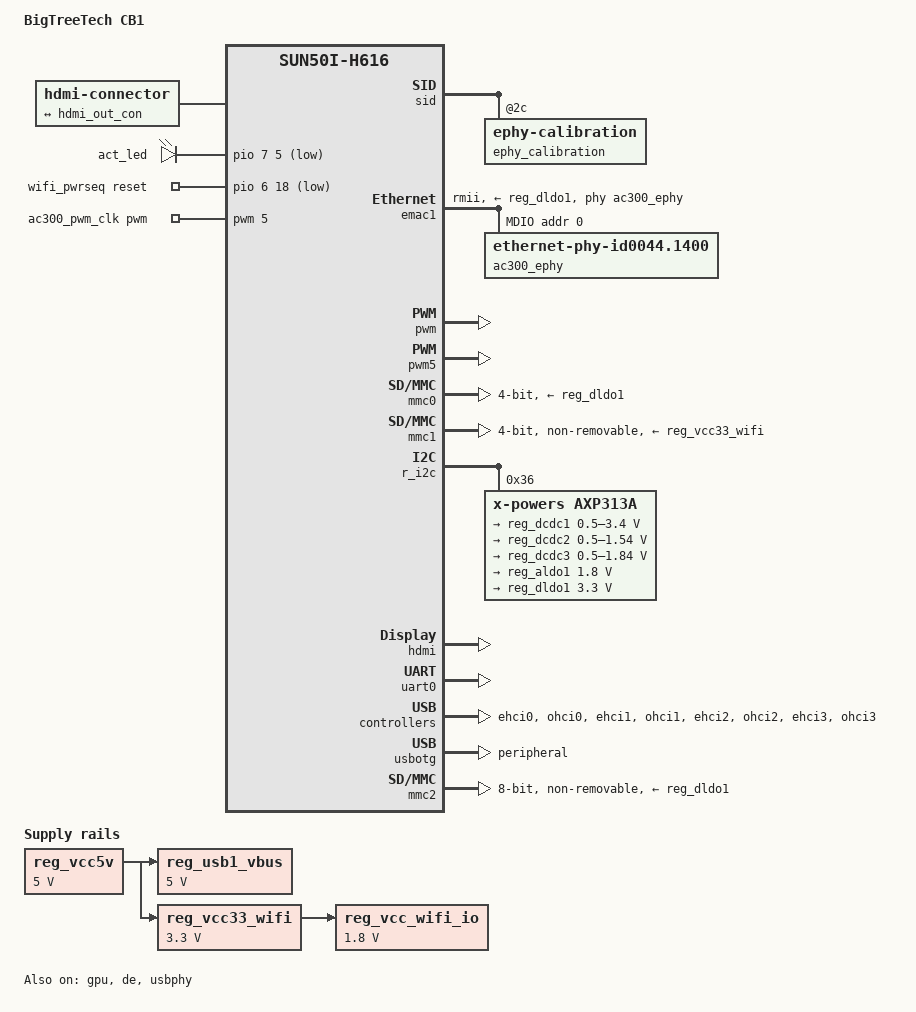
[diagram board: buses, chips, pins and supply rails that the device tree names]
// SPDX-License-Identifier: (GPL-2.0+ OR MIT)
/****************************************************************************
 * Sovol SV08 printer host family uses an Allwinner H616.                   *
 * A deacarade clone of BTT-CB1-EMMC.                                       *
 *                                                                          *
 * Electrically an eMMC-variant CB1, so it reuses the CB1 device tree and   *
 * u-boot. Board-level differences vs the CB1:                              *
 *   - onboard eMMC part validated by the vendor at 45 MHz (the CB1 device  *
 *     tree leaves mmc2 at the SoC default);                                *
 *   - a toolboard UART is broken out; enable it with the stock             *
 * MAIN NOTICE :                                                            *
 *   -SV08                                                                  *
 *        sun50i-h616-uart3-pi overlay (DEFAULT_OVERLAYS                    *
 *        in the board config).                                             *
 *                                                                          *
 *                                                                          *
 *   - SV08-MAX                                                             *
 *        sun50i-h616-uart4-pi overlay (DEFAULT_OVERLAYS                    *
 *        in the board config).                                             *
 *   - The main trick that Sovol and BTT uses to mantain compatiblity:      *
 * 	  the overlays related to UART4 remap the PIN-CTRL and FLOW-CTL     *
 *        over the UART3 masking all behaivor                               *
 *   - SOVOL reduce the onboard eMMC max speed due a bad electrical desssign*
 * Community DTS board: verified by DrDitto.                                *
 *                                                                          *
 * WARNING:                                                                 *
 * Use at your own risk!!!!!!                                               *
 *                                                                          *
 * As part of the applied research all requiered #define                    *
 * was clearly grouped by functionality grouped using:                      *
 * Be caerefull with your changes, A great Power, bla bla bla bla           *
 *                                                                          *
 * This work was made as personal proyect but deployed as GPL V2 requieres  *
 * Any change over the define section will be only your responsability      *
 * This dtsi file was tested over a SV08 is totaly functional and validated *
 *                                                                          *
 *                                                                          *
 * #ifndef                                                                  *
 * #endif                                                                   *
 *                                                                          *
 ***************************************************************************/
//
/****************************************************************************
 * One DTSI to rule all the Family                                          *
 ****************************************************************************/
//



/dts-v1/;
#include "sv08.h"
#include "sun50i-h616.dtsi"
#include "sun50i-h616-cpu-opp.dtsi"


/ {
	model = "BigTreeTech CB1";
	compatible = "bigtreetech,cb1", "allwinner,sun50i-h616";

	aliases {
		ethernet0 = &emac1;
		serial0 = &uart0;
	};

	chosen {
		stdout-path = "serial0:115200n8";
	};

	connector {
		compatible = "hdmi-connector";
		type = "d";

		port {
			hdmi_con_in: endpoint {
				remote-endpoint = <&hdmi_out_con>;
			};
		};
	};

	leds {
		compatible = "gpio-leds";

		act_led: led-0 {
			gpios = <&pio 7 5 GPIO_ACTIVE_LOW>; /* PH5 */
			linux,default-trigger = "heartbeat";
		};
	};

	reg_vcc5v: regulator-vcc5v {
		/* board wide 5V supply directly from the USB-C socket */
		compatible = "regulator-fixed";
		regulator-name = "vcc-5v";
		regulator-min-microvolt = <5000000>;
		regulator-max-microvolt = <5000000>;
		regulator-always-on;
	};

	reg_usb1_vbus: regulator-usb1-vbus {
		compatible = "regulator-fixed";
		regulator-name = "usb1-vbus";
		regulator-min-microvolt = <5000000>;
		regulator-max-microvolt = <5000000>;
		vin-supply = <&reg_vcc5v>;
		enable-active-high;
	};

	reg_vcc33_wifi: vcc33-wifi {
		/* Always on 3.3V regulator for WiFi and BT */
		compatible = "regulator-fixed";
		regulator-name = "vcc33-wifi";
		regulator-min-microvolt = <3300000>;
		regulator-max-microvolt = <3300000>;
		regulator-always-on;
		vin-supply = <&reg_vcc5v>;
	};

	reg_vcc_wifi_io: vcc-wifi-io {
		/* Always on 1.8V/300mA regulator for WiFi and BT IO */
		compatible = "regulator-fixed";
		regulator-name = "vcc-wifi-io";
		regulator-min-microvolt = <1800000>;
		regulator-max-microvolt = <1800000>;
		regulator-always-on;
		vin-supply = <&reg_vcc33_wifi>;
	};

	wifi_pwrseq: wifi-pwrseq {
		compatible = "mmc-pwrseq-simple";
		clocks = <&rtc 1>;
		clock-names = "ext_clock";
		reset-gpios = <&pio 6 18 GPIO_ACTIVE_LOW>; /* PG18 */
		post-power-on-delay-ms = <200>;
	};

	ws2812: ws2812 {
		compatible = "rgb-ws2812";
		pinctrl-names = "default";
		rgb_cnt = <2>;
		rgb_value = <0x000001 0x010000>;
		status = "disabled";
	};

	ac300_pwm_clk: ac300-clk {
		compatible = "pwm-clock";
		#clock-cells = <0>;
		/* 500ns period -> 2MHz */
		pwms = <&pwm 5 500 0>;
		clock-frequency = <2000000>;
		status = "okay";
	};

	i2c_gpio: i2c-gpio {
		#address-cells = <1>;
		#size-cells = <0>;
		compatible = "i2c-gpio";
		status = "disabled";

		i2c-gpio,delay-us = <3>; /* 100 kHz */

		tft_tp: ns2009@48 {
			compatible = "ti,tsc2007";
			reg = <0x48>;
			status = "disabled";
			ti,x-plate-ohms = <660>;
			ti,rt-thr = <3000>;
			ti,fuzzx = <32>;
			ti,fuzzy = <16>;
			i2c,ignore-nak = <1>;
		};

		light: bh1750@5c {
			compatible = "rohm,bh1750";
			reg = <0x5c>;
			status = "disabled";
		};
	};

	mcp2515_clock: mcp2515_clock {
		compatible = "fixed-clock";
		#clock-cells = <0>;
		clock-frequency  = <12000000>;
	};
};

&cpu0 {
	cpu-supply = <&reg_dcdc2>;
};

&sid {
	ephy_calibration: ephy-calibration@2c {
		reg = <0x2c 0x2>;
	};
};

&gpu {
	mali-supply = <&reg_dcdc1>;
	status = "okay";
};

&emac1 {
	compatible = "allwinner,sun50i-h616-internal-emac";
	pinctrl-names = "default";
	pinctrl-0 = <&rmii_pins>;
	phy-mode = "rmii";
	phy-handle = <&ac300_ephy>;
	phy-supply = <&reg_dldo1>;
	allwinner,rx-delay-ps = <3100>;
	allwinner,tx-delay-ps = <700>;
	status = "okay";

	mdio-mux {
		compatible = "allwinner,sun8i-h3-mdio-mux";
		#address-cells = <1>;
		#size-cells = <0>;
		mdio-parent-bus = <&mdio1>;

		internal_mdio: mdio@1 {
			compatible = "allwinner,sun8i-h3-mdio-internal";
			reg = <1>;
			#address-cells = <1>;
			#size-cells = <0>;

			ac300_ephy: ethernet-phy@0 {
				compatible = "ethernet-phy-id0044.1400", "allwinner,sun50i-h618-ac300-ephy", "ethernet-phy-ieee802.3-c22";
				reg = <0>;
				clocks = <&ccu CLK_EMAC_25M>, <&ac300_pwm_clk>;
				clock-names = "ephy", "pwm";
				nvmem-cells = <&ephy_calibration>;
				nvmem-cell-names = "calibration";
				status = "okay";
			};
		};
	};
};

&mdio1 {
	compatible = "snps,dwmac-mdio";
};

&pwm {
	status = "okay";
};

&pwm5 {
	pinctrl-names = "default";
	pinctrl-0 = <&pwm5_pin>;
	clk_bypass_output = <0x1>;
	status = "okay";
};

&mmc0 {
	vmmc-supply = <&reg_dldo1>;
	broken-cd;
	bus-width = <4>;
	max-frequency = <50000000>;
	status = "okay";
};

&mmc1 {
	vmmc-supply = <&reg_vcc33_wifi>;
	vqmmc-supply = <&reg_vcc_wifi_io>;
	mmc-pwrseq = <&wifi_pwrseq>;
	bus-width = <4>;
	max-frequency = <25000000>;
	non-removable;
	mmc-ddr-1_8v;
	status = "okay";
};

&pio {
	can0_pin_irq: can0_pin_irq {
		function = "irq";
		bias-pull-up;
	};
};

&spi1 {
	#address-cells = <1>;
	#size-cells = <0>;
	status = "disabled";
	pinctrl-names = "default";
	pinctrl-0 = <&spi1_pins>;

	can: mcp2515@0 {
		status = "disabled";
		compatible = "microchip,mcp2515";
		reg = <0x0>;
		clocks = <&mcp2515_clock>;
		spi-max-frequency = <12500000>;
		pinctrl-names = "default";
		pinctrl-0 = <&can0_pin_irq>;
		interrupt-parent = <&pio>;
		vdd-supply = <&reg_vcc33_wifi>;
		xceiver-supply = <&reg_vcc33_wifi>;
	};

	tft_35: st7789v@1 {
		status = "disabled";
		compatible = "sitronix,st7796s";
		reg = <1>;
		spi-max-frequency =<12500000>;
		fps =<60>;
		buswidth = <8>;
		rotate =<0>;
		width = <480>;
		height = <320>;
		bpp = <24>;
		bgr;
		regwidth = <8>;
		debug = <0x00>;	 //0x20 show fps
		txbuflen = <307200>;
		spi-cpol;
		spi-cpha;
	};
};

&r_i2c {
	status = "okay";

	axp313a: pmic@36 {
		compatible = "x-powers,axp313a";
		reg = <0x36>;
		wakeup-source;

		regulators {
			reg_dcdc1: dcdc1 {
				regulator-name = "vdd-gpu-sys";
				regulator-min-microvolt = <500000>;
				regulator-max-microvolt = <3400000>;
				regulator-step-delay-us = <25>;
				regulator-final-delay-us = <50>;
				regulator-always-on;
			};

			reg_dcdc2: dcdc2 {
				regulator-name = "vdd-cpu";
				regulator-min-microvolt = <500000>;
				regulator-max-microvolt = <1540000>;
				regulator-step-delay-us = <25>;
				regulator-final-delay-us = <50>;
				regulator-ramp-delay = <200>;
				regulator-always-on;
			};

			reg_dcdc3: dcdc3 {
				regulator-name = "vcc-dram";
				regulator-min-microvolt = <500000>;
				regulator-max-microvolt = <1840000>;
				regulator-step-delay-us = <25>;
				regulator-final-delay-us = <50>;
				regulator-always-on;
			};

			reg_aldo1: aldo1 {
				regulator-name = "vcc-1v8-pll";
				regulator-min-microvolt = <1800000>;
				regulator-max-microvolt = <1800000>;
				regulator-step-delay-us = <25>;
				regulator-final-delay-us = <50>;
				regulator-always-on;
			};

			reg_dldo1: dldo1 {
				regulator-name = "vcc-3v3-io";
				regulator-min-microvolt = <3300000>;
				regulator-max-microvolt = <3300000>;
				regulator-step-delay-us = <25>;
				regulator-final-delay-us = <50>;
				regulator-always-on;
			};
		};
	};
};

&de {
	status = "okay";
};

&hdmi {
	hvcc-supply = <&reg_aldo1>;
	status = "okay";
};

&hdmi_out {
	hdmi_out_con: endpoint {
		remote-endpoint = <&hdmi_con_in>;
	};
};

&cpu0 {
	cpu-supply = <&reg_dcdc2>;
	status = "okay";
};

&gpu {
	mali-supply = <&reg_dcdc3>;
	status = "okay";
};

&uart0 {
	pinctrl-names = "default";
	pinctrl-0 = <&uart0_ph_pins>;
	status = "okay";
};

&usbphy {
	usb1_vbus-supply = <&reg_usb1_vbus>;
	status = "okay";
};

&ehci0 {
	status = "okay";
};

&ohci0 {
	status = "okay";
};

&ehci1 {
	status = "okay";
};

&ohci1 {
	status = "okay";
};

&ehci2 {
	status = "okay";
};

&ohci2 {
	status = "okay";
};

&ehci3 {
	status = "okay";
};

&ohci3 {
	status = "okay";
};

&usbotg {
	/*
	 * PHY0 pins are connected to a USB-C socket, but a role switch
	 * is not implemented: both CC pins are pulled to GND.
	 * The VBUS pins power the device, so a fixed peripheral mode
	 * is the best choice.
	 * The board can be powered via GPIOs, in this case port0 *can*
	 * act as a host (with a cable/adapter ignoring CC), as VBUS is
	 * then provided by the GPIOs. Any user of this setup would
	 * need to adjust the DT accordingly: dr_mode set to "host",
	 * enabling OHCI0 and EHCI0.
	 */
	dr_mode = "peripheral";
	status = "okay";
};

&mmc2 {
	vmmc-supply = <&reg_dldo1>;

	no-1-8-v;
	bus-width = <8>;
	non-removable;
	max-frequency = <45000000>;
	status = "okay";
};

&ws2812 {
	gpios = <&pio 8 15 GPIO_ACTIVE_LOW>; /* PI15 */
};

&i2c_gpio {
	sda-gpios = <&pio 8 6 (GPIO_ACTIVE_HIGH | GPIO_OPEN_DRAIN)>; /* PI6 */
	scl-gpios = <&pio 8 4 (GPIO_ACTIVE_HIGH | GPIO_OPEN_DRAIN)>; /* PI4 */
};

&can0_pin_irq {
	pins = "PI3";
};

&can {
	interrupts = <8 3 0x08>; /* PI3 IRQ_TYPE_LEVEL_LOW */
};

&tft_35 {
	dc-gpios  = <&pio 8 15 GPIO_ACTIVE_HIGH>; /* PI15 */
};

&spi1 {
	cs-gpios = <&pio 8 5 GPIO_ACTIVE_HIGH>, /* PI5 */
	<&pio 8 14 GPIO_ACTIVE_HIGH>, /* PI14 */
	<&pio 8 7 GPIO_ACTIVE_HIGH>; /* PI7 */
};

